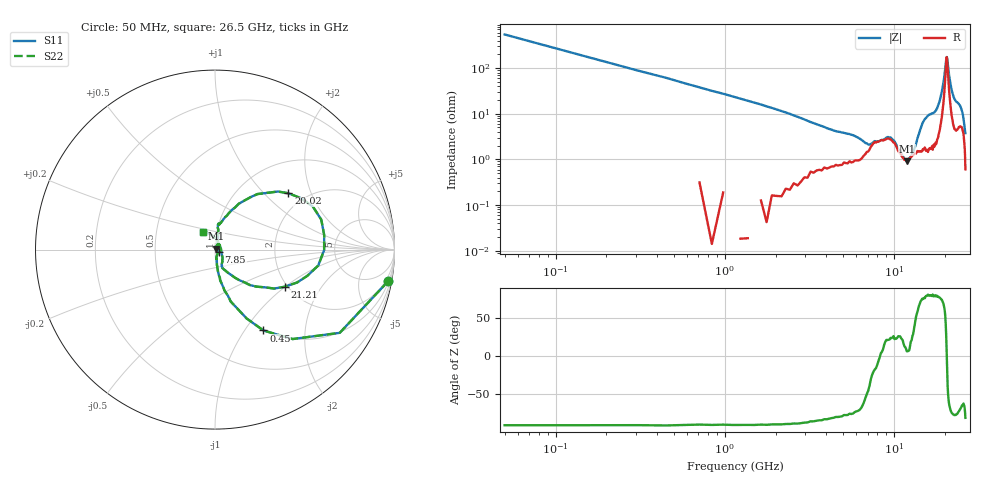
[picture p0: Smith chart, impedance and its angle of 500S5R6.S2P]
!  American Technical Ceramics  Date:  3/11/98
!  One Norden Lane
!  Huntington Station,  NY.  11746-2102
!  Tel:  (516) 547-5700  Fax:  (516) 547-5748
!  Part Number  500s5r6
!  Description: Broadband Microwave capacitor
!  Application:
# GHZ S DB R 50
! Freq  |S11|  S11 Ph  |S21|  S21 Ph  |S12|  S12 Ph  |S22|  S22 Ph
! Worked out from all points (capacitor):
!   201 points, 50 MHz to 26.5 GHz, reference 50 ohm
!   read as one part in series: C = 5.85 pF near 180 MHz
!   lowest |Z| = 900 mohm at 11.95 GHz (marker M1)
!   series resonance near 8.285 GHz, so ESL is about 63 pH
!   S11 on the Smith chart (normalised r, x): 50 MHz: 1, -11; 450 MHz: 0.98, -1.22; 7.85 GHz: 1.04, -0.02; 20.02 GHz: 1.64, +1.40; 21.21 GHz: 1.93, -0.99; 26.5 GHz: 0.86, +0.17
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0.05  -0.17 -10.3  -14.89 80.1  -14.89 80.1  -0.17 -10.3
0.18  -1.56 -33.7  -5.15 56.7  -5.15 56.7  -1.56 -33.7
0.45  -5.59 -59.1  -1.35 31.7  -1.35 31.7  -5.59 -59.1
0.84  -10.38 -73.1  -0.46 17.6  -0.46 17.6  -10.38 -73.1
2.17  -18.76 -82.2  -0.06 6.4  -0.06 6.4  -18.76 -82.2
4.55  -25.53 -80.5  -0.08 1.6  -0.08 1.6  -25.53 -80.5
6.13  -26.19 -80.8  -0.11 0.5  -0.11 0.5  -26.19 -80.8
7.85  -32.03 -28.4  -0.21 0.0  -0.21 0.0  -32.03 -28.4
8.91  -29.97 32.7  -0.23 -0.0  -0.23 -0.0  -29.97 32.7
10.63  -32.11 64.8  -0.17 0.5  -0.17 0.5  -32.11 64.8
11.95  -43.39 40.4  -0.11 0.1  -0.11 0.1  -43.39 40.4
13.28  -33.93 48.5  -0.12 -0.4  -0.12 -0.4  -33.93 48.5
15.13  -19.42 80.3  -0.21 -1.8  -0.21 -1.8  -19.42 80.3
17.77  -16.73 79.5  -0.33 -4.6  -0.33 -4.6  -16.73 79.5
19.23  -10.81 62.5  -1.12 -13.6  -1.12 -13.6  -10.81 62.5
20.02  -5.75 37.5  -4.08 -23.3  -4.08 -23.3  -5.75 37.5
20.55  -4.24 7.7  -9.03 3.6  -9.03 3.6  -4.24 7.7
21.21  -7.13 -28.1  -3.38 31.7  -3.38 31.7  -7.13 -28.1
22.14  -14.34 -54.6  -1.06 20.5  -1.06 20.5  -14.34 -54.6
24.52  -23.44 -51.3  -0.65 12.9  -0.65 12.9  -23.44 -51.3
25.31  -29.71 31.9  -0.58 12.6  -0.58 12.6  -29.71 31.9
26.5  -18.38 124.8  -0.61 10.7  -0.61 10.7  -18.38 124.8
